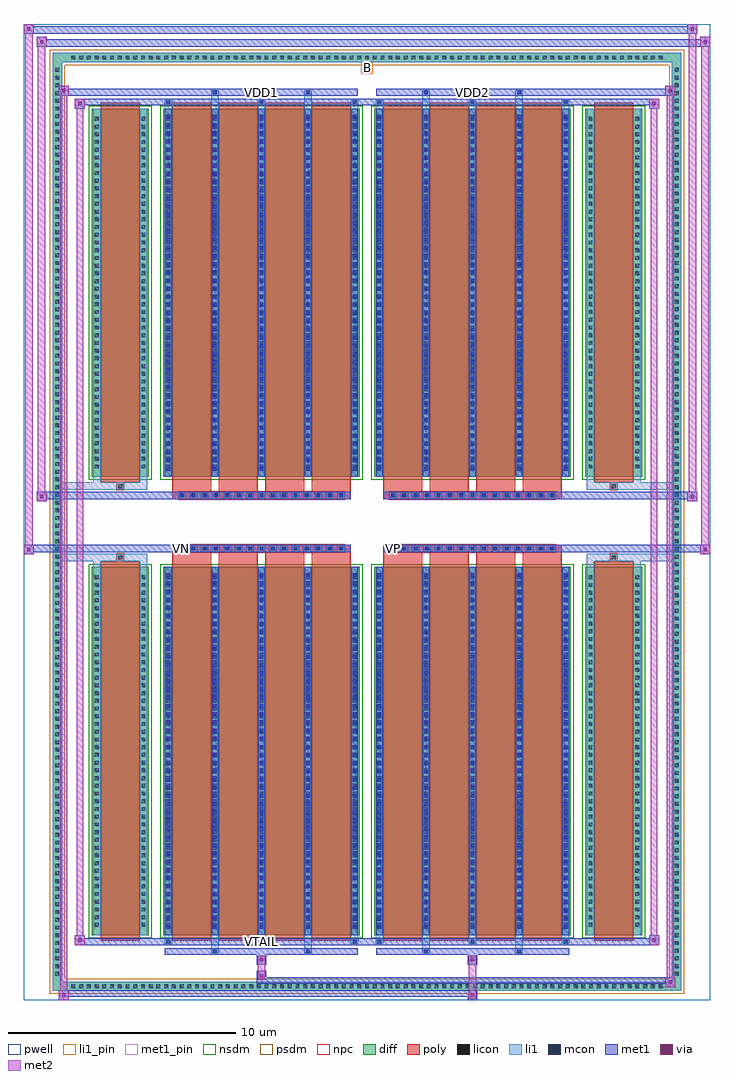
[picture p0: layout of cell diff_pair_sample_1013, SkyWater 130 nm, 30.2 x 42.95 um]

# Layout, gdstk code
import gdstk
lib = gdstk.Library(unit=1e-6, precision=5e-09)
def R(c, l, rs):  # rectangles x0, y0, x1, y1
    for r in rs: c.add(gdstk.rectangle(r[:2], r[2:], *l))
def A(c, l, x, y, w, h, nx, ny, dx, dy):  # array of equal rectangles
    R(c, l, [(x+i*dx, y+j*dy, x+i*dx+w, y+j*dy+h) for i in range(nx) for j in range(ny)])
def P(c, l, *ps):  # polygons
    for p in ps: c.add(gdstk.Polygon(p, *l))
pwell = (64, 44)
diff = (65, 20)
poly = (66, 20)
licon = (66, 44)
li1_pin = (67, 16)
li1 = (67, 20)
mcon = (67, 44)
met1_pin = (68, 16)
met1 = (68, 20)
via = (68, 44)
met2 = (69, 20)
nsdm = (93, 44)
psdm = (94, 20)
npc = (95, 20)

diff_pair_sample_1013 = lib.new_cell('diff_pair_sample_1013')
R(diff_pair_sample_1013, pwell, [(-15.1,-21.04,15.1,21.91), (-12.42,-19.23,-0.01,-0.805), (0.01,-19.23,12.42,-0.805), (-12.42,0.805,-0.01,19.23), (0.01,0.805,12.42,19.23)])
A(diff_pair_sample_1013, diff, -13.125, -20.64, 0.41, 0.41, 77, 2, 0.34, 40.87)
A(diff_pair_sample_1013, diff, -13.83, -20.095, 0.41, 0.41, 1, 118, 0, 0.34)
A(diff_pair_sample_1013, diff, 13.42, -20.095, 0.41, 0.41, 1, 118, 0, 0.34)
R(diff_pair_sample_1013, diff, [(-13.125,-20.64,13.125,-20.23), (-13.83,-20.095,-13.42,20.095), (13.42,-20.095,13.83,20.095), (-12.11,-18.185,-9.61,-1.985), (-8.97,-18.185,-0.32,-1.985), (0.32,-18.185,8.97,-1.985), (9.61,-18.185,12.11,-1.985), (-12.11,1.985,-9.61,18.185), (-8.97,1.985,-0.32,18.185), (0.32,1.985,8.97,18.185), (9.61,1.985,12.11,18.185), (-13.125,20.23,13.125,20.64)])
P(diff_pair_sample_1013, diff, [(13.83,20.64),(-13.83,20.64),(-13.83,-20.23),(-13.42,-20.23),(-13.42,20.23),(13.42,20.23),(13.42,-20.23),(-13.42,-20.23),(-13.83,-20.23),(-13.83,-20.64),(13.83,-20.64)])
A(diff_pair_sample_1013, poly, -8.58, -18.435, 1.72, 16.7, 4, 2, 2.05, 20.17)
A(diff_pair_sample_1013, poly, 0.71, -18.435, 1.72, 16.7, 4, 2, 2.05, 20.17)
A(diff_pair_sample_1013, poly, -8.58, -1.735, 1.72, 0.4, 4, 2, 2.05, 3.07)
A(diff_pair_sample_1013, poly, 0.71, -1.735, 1.72, 0.4, 4, 2, 2.05, 3.07)
A(diff_pair_sample_1013, poly, -8.31, -1.335, 0.33, 0.33, 15, 2, 0.5, 2.34)
A(diff_pair_sample_1013, poly, 0.98, -1.335, 0.33, 0.33, 15, 2, 0.5, 2.34)
R(diff_pair_sample_1013, poly, [(-11.72,-18.435,-10,-1.735), (10,-18.435,11.72,-1.735), (-11.025,-1.735,-10.695,-1.405), (-11.025,-1.735,-10.695,-1.405), (10.695,-1.735,11.025,-1.405), (10.695,-1.735,11.025,-1.405), (-8.58,-1.335,-0.71,-1.005), (0.71,-1.335,8.58,-1.005), (-8.58,1.005,-0.71,1.335), (0.71,1.005,8.58,1.335), (-11.025,1.405,-10.695,1.735), (-11.025,1.405,-10.695,1.735), (10.695,1.405,11.025,1.735), (10.695,1.405,11.025,1.735), (-11.72,1.735,-10,18.435), (10,1.735,11.72,18.435)])
A(diff_pair_sample_1013, licon, -13.005, -20.52, 0.17, 0.17, 77, 2, 0.34, 40.87)
A(diff_pair_sample_1013, licon, -13.71, -19.975, 0.17, 0.17, 1, 118, 0, 0.34)
A(diff_pair_sample_1013, licon, 13.54, -19.975, 0.17, 0.17, 1, 118, 0, 0.34)
A(diff_pair_sample_1013, licon, -11.97, -17.82, 0.17, 0.17, 1, 46, 0, 0.34)
A(diff_pair_sample_1013, licon, -9.92, -17.82, 0.17, 0.17, 1, 46, 0, 0.34)
A(diff_pair_sample_1013, licon, -8.83, -17.82, 0.17, 0.17, 5, 46, 2.05, 0.34)
A(diff_pair_sample_1013, licon, 0.46, -17.82, 0.17, 0.17, 5, 46, 2.05, 0.34)
A(diff_pair_sample_1013, licon, 9.75, -17.82, 0.17, 0.17, 1, 46, 0, 0.34)
A(diff_pair_sample_1013, licon, 11.8, -17.82, 0.17, 0.17, 1, 46, 0, 0.34)
A(diff_pair_sample_1013, licon, -8.23, -1.255, 0.17, 0.17, 15, 2, 0.5, 2.34)
A(diff_pair_sample_1013, licon, 1.06, -1.255, 0.17, 0.17, 15, 2, 0.5, 2.34)
A(diff_pair_sample_1013, licon, -11.97, 2.35, 0.17, 0.17, 1, 46, 0, 0.34)
A(diff_pair_sample_1013, licon, -9.92, 2.35, 0.17, 0.17, 1, 46, 0, 0.34)
A(diff_pair_sample_1013, licon, -8.83, 2.35, 0.17, 0.17, 5, 46, 2.05, 0.34)
A(diff_pair_sample_1013, licon, 0.46, 2.35, 0.17, 0.17, 5, 46, 2.05, 0.34)
A(diff_pair_sample_1013, licon, 9.75, 2.35, 0.17, 0.17, 1, 46, 0, 0.34)
A(diff_pair_sample_1013, licon, 11.8, 2.35, 0.17, 0.17, 1, 46, 0, 0.34)
R(diff_pair_sample_1013, licon, [(-10.945,-1.655,-10.775,-1.485), (10.775,-1.655,10.945,-1.485), (-10.945,1.485,-10.775,1.655), (10.775,1.485,10.945,1.655)])
R(diff_pair_sample_1013, li1_pin, [(-0.25,19.73,0.25,20.23)])
A(diff_pair_sample_1013, li1, -13.085, -20.6, 0.33, 0.33, 77, 2, 0.34, 40.87)
A(diff_pair_sample_1013, li1, -13.79, -20.055, 0.33, 0.33, 1, 118, 0, 0.34)
A(diff_pair_sample_1013, li1, 13.46, -20.055, 0.33, 0.33, 1, 118, 0, 0.34)
A(diff_pair_sample_1013, li1, -8.91, -18.56, 0.33, 0.375, 3, 2, 4.1, 36.745)
A(diff_pair_sample_1013, li1, -8.83, -18.56, 0.17, 0.17, 3, 2, 4.1, 36.95)
A(diff_pair_sample_1013, li1, 0.38, -18.56, 0.33, 0.375, 3, 2, 4.1, 36.745)
A(diff_pair_sample_1013, li1, 0.46, -18.56, 0.17, 0.17, 3, 2, 4.1, 36.95)
A(diff_pair_sample_1013, li1, -8.91, -18.185, 0.33, 16.2, 5, 2, 2.05, 20.17)
A(diff_pair_sample_1013, li1, 0.38, -18.185, 0.33, 16.2, 5, 2, 2.05, 20.17)
A(diff_pair_sample_1013, li1, -8.83, -17.91, 0.17, 0.17, 5, 44, 2.05, 0.36)
A(diff_pair_sample_1013, li1, -8.83, -17.91, 0.17, 15.65, 5, 2, 2.05, 20.17)
A(diff_pair_sample_1013, li1, 0.46, -17.91, 0.17, 0.17, 5, 44, 2.05, 0.36)
A(diff_pair_sample_1013, li1, 0.46, -17.91, 0.17, 15.65, 5, 2, 2.05, 20.17)
A(diff_pair_sample_1013, li1, -12.05, -17.9, 0.33, 0.33, 1, 46, 0, 0.34)
A(diff_pair_sample_1013, li1, -10, -17.9, 0.33, 0.33, 1, 46, 0, 0.34)
A(diff_pair_sample_1013, li1, -8.91, -17.9, 0.33, 0.33, 5, 46, 2.05, 0.34)
A(diff_pair_sample_1013, li1, 0.38, -17.9, 0.33, 0.33, 5, 46, 2.05, 0.34)
A(diff_pair_sample_1013, li1, 9.67, -17.9, 0.33, 0.33, 1, 46, 0, 0.34)
A(diff_pair_sample_1013, li1, 11.72, -17.9, 0.33, 0.33, 1, 46, 0, 0.34)
A(diff_pair_sample_1013, li1, -8.31, -1.335, 0.33, 0.33, 15, 2, 0.5, 2.34)
A(diff_pair_sample_1013, li1, 0.98, -1.335, 0.33, 0.33, 15, 2, 0.5, 2.34)
A(diff_pair_sample_1013, li1, -8.83, 2.26, 0.17, 0.17, 5, 44, 2.05, 0.36)
A(diff_pair_sample_1013, li1, 0.46, 2.26, 0.17, 0.17, 5, 44, 2.05, 0.36)
A(diff_pair_sample_1013, li1, -12.05, 2.27, 0.33, 0.33, 1, 46, 0, 0.34)
A(diff_pair_sample_1013, li1, -10, 2.27, 0.33, 0.33, 1, 46, 0, 0.34)
A(diff_pair_sample_1013, li1, -8.91, 2.27, 0.33, 0.33, 5, 46, 2.05, 0.34)
A(diff_pair_sample_1013, li1, 0.38, 2.27, 0.33, 0.33, 5, 46, 2.05, 0.34)
A(diff_pair_sample_1013, li1, 9.67, 2.27, 0.33, 0.33, 1, 46, 0, 0.34)
A(diff_pair_sample_1013, li1, 11.72, 2.27, 0.33, 0.33, 1, 46, 0, 0.34)
R(diff_pair_sample_1013, li1, [(-13.83,-20.64,-13.42,-20.23), (-13.83,-20.64,-13.42,-20.23), (-13.42,-20.64,13.42,-20.23), (13.42,-20.64,13.83,-20.23), (13.42,-20.64,13.83,-20.23), (-13.83,-20.23,-13.42,20.23), (13.42,-20.23,13.83,20.23), (-6.86,-18.99,-6.53,-18.185), (-6.78,-18.99,-6.61,-18.82), (-2.76,-18.99,-2.43,-18.185), (-2.68,-18.99,-2.51,-18.82), (2.43,-18.99,2.76,-18.185), (2.51,-18.99,2.68,-18.82), (6.53,-18.99,6.86,-18.185), (6.61,-18.99,6.78,-18.82), (-12.05,-18.185,-11.72,-1.985), (-10,-18.185,-9.67,-1.985), (9.67,-18.185,10,-1.985), (11.72,-18.185,12.05,-1.985), (-12.05,-1.985,-11.72,-1.405), (-10,-1.985,-9.67,-1.405), (9.67,-1.985,10,-1.405), (11.72,-1.985,12.05,-1.405), (-13.83,-1.735,-11.025,-1.405), (-12.05,-1.735,-11.025,-1.405), (-11.025,-1.735,-10.695,-1.405), (-10.695,-1.735,-9.67,-1.405), (9.67,-1.735,10.695,-1.405), (10.695,-1.735,11.025,-1.405), (10.695,-1.735,13.83,-1.405), (11.025,-1.735,12.05,-1.405), (-13.83,1.405,-11.025,1.735), (-12.05,1.405,-11.025,1.735), (-12.05,1.405,-11.72,1.985), (-11.025,1.405,-10.695,1.735), (-10.695,1.405,-9.67,1.735), (-10,1.405,-9.67,1.985), (9.67,1.405,10.695,1.735), (9.67,1.405,10,1.985), (10.695,1.405,11.025,1.735), (10.695,1.405,13.83,1.735), (11.025,1.405,12.05,1.735), (11.72,1.405,12.05,1.985), (-12.05,1.985,-11.72,18.185), (-10,1.985,-9.67,18.185), (9.67,1.985,10,18.185), (11.72,1.985,12.05,18.185), (-6.86,18.185,-6.53,18.99), (-2.76,18.185,-2.43,18.99), (2.43,18.185,2.76,18.99), (6.53,18.185,6.86,18.99), (-6.78,18.82,-6.61,18.99), (-2.68,18.82,-2.51,18.99), (2.51,18.82,2.68,18.99), (6.61,18.82,6.78,18.99), (-13.83,20.23,-13.42,20.64), (-13.83,20.23,-13.42,20.64), (-13.42,20.23,13.42,20.64), (13.42,20.23,13.83,20.64), (13.42,20.23,13.83,20.64)])
A(diff_pair_sample_1013, mcon, -8.83, -18.56, 0.17, 0.17, 3, 2, 4.1, 36.95)
A(diff_pair_sample_1013, mcon, 0.46, -18.56, 0.17, 0.17, 3, 2, 4.1, 36.95)
A(diff_pair_sample_1013, mcon, -8.83, -17.91, 0.17, 0.17, 5, 44, 2.05, 0.36)
A(diff_pair_sample_1013, mcon, 0.46, -17.91, 0.17, 0.17, 5, 44, 2.05, 0.36)
A(diff_pair_sample_1013, mcon, -8.23, -1.255, 0.17, 0.17, 15, 2, 0.5, 2.34)
A(diff_pair_sample_1013, mcon, 1.06, -1.255, 0.17, 0.17, 15, 2, 0.5, 2.34)
A(diff_pair_sample_1013, mcon, -8.83, 2.26, 0.17, 0.17, 5, 44, 2.05, 0.36)
A(diff_pair_sample_1013, mcon, 0.46, 2.26, 0.17, 0.17, 5, 44, 2.05, 0.36)
R(diff_pair_sample_1013, mcon, [(-6.78,-18.99,-6.61,-18.82), (-2.68,-18.99,-2.51,-18.82), (2.51,-18.99,2.68,-18.82), (6.61,-18.99,6.78,-18.82), (-6.78,18.82,-6.61,18.99), (-2.68,18.82,-2.51,18.99), (2.51,18.82,2.68,18.99), (6.61,18.82,6.78,18.99)])
R(diff_pair_sample_1013, met1_pin, [(-4.78,-18.6,-4.51,-18.33), (-8.28,-1.295,-8.01,-1.025), (1.01,-1.295,1.28,-1.025), (-4.78,18.78,-4.51,19.05), (4.51,18.78,4.78,19.05)])
A(diff_pair_sample_1013, met1, -8.89, -18.62, 0.29, 0.29, 3, 2, 4.1, 36.95)
A(diff_pair_sample_1013, met1, 0.4, -18.62, 0.29, 0.29, 3, 2, 4.1, 36.95)
A(diff_pair_sample_1013, met1, -8.89, -18.185, 0.29, 16.2, 5, 2, 2.05, 20.17)
A(diff_pair_sample_1013, met1, 0.4, -18.185, 0.29, 16.2, 5, 2, 2.05, 20.17)
A(diff_pair_sample_1013, met1, -8.89, -17.97, 0.29, 0.29, 5, 44, 2.05, 0.36)
A(diff_pair_sample_1013, met1, 0.4, -17.97, 0.29, 0.29, 5, 44, 2.05, 0.36)
A(diff_pair_sample_1013, met1, -8.29, -1.315, 0.29, 0.29, 15, 2, 0.5, 2.34)
A(diff_pair_sample_1013, met1, 1, -1.315, 0.29, 0.29, 15, 2, 0.5, 2.34)
A(diff_pair_sample_1013, met1, -8.89, 2.2, 0.29, 0.29, 5, 44, 2.05, 0.36)
A(diff_pair_sample_1013, met1, 0.4, 2.2, 0.29, 0.29, 5, 44, 2.05, 0.36)
R(diff_pair_sample_1013, met1, [(-13.56,-21.04,-13.13,-20.61), (4.43,-21.04,4.86,-20.61), (-13.56,-20.9,4.86,-20.61), (13.13,-20.47,13.56,-20.04), (-4.86,-20.33,13.56,-20.04), (-4.86,-20.19,-4.43,-19.76), (-4.86,-19.48,-4.43,-19.05), (4.43,-19.48,4.86,-19.05), (-8.89,-19.05,-0.4,-18.76), (-6.84,-19.05,-6.55,-18.76), (-2.74,-19.05,-2.45,-18.76), (0.4,-19.05,8.89,-18.76), (2.45,-19.05,2.74,-18.76), (6.55,-19.05,6.84,-18.76), (-12.85,-18.62,-12.42,-18.19), (-12.85,-18.62,-8.89,-18.33), (-8.89,-18.62,-0.4,-18.33), (-0.4,-18.62,0.4,-18.33), (0.4,-18.62,8.89,-18.33), (8.89,-18.62,12.85,-18.33), (12.42,-18.62,12.85,-18.19), (-15.1,-1.435,-14.67,-1.005), (14.67,-1.435,15.1,-1.005), (-15.1,-1.335,-0.71,-1.005), (-8.58,-1.335,-0.71,-1.005), (0.71,-1.335,8.58,-1.005), (0.71,-1.335,15.1,-1.005), (-14.53,0.905,-14.1,1.335), (14.1,0.905,14.53,1.335), (-14.53,1.005,-8.58,1.335), (-8.58,1.005,-0.71,1.335), (0.71,1.005,8.58,1.335), (8.58,1.005,14.53,1.335), (-12.85,18.19,-12.42,18.62), (12.42,18.19,12.85,18.62), (-12.85,18.33,-8.89,18.62), (-8.89,18.33,-0.4,18.62), (-0.4,18.33,0.4,18.62), (0.4,18.33,8.89,18.62), (8.89,18.33,12.85,18.62), (-13.56,18.76,-13.13,19.19), (-13.56,18.76,-8.89,19.05), (-8.89,18.76,-0.4,19.05), (-6.84,18.76,-6.55,19.05), (-2.74,18.76,-2.45,19.05), (0.4,18.76,8.89,19.05), (2.45,18.76,2.74,19.05), (6.55,18.76,6.84,19.05), (8.89,18.76,13.56,19.05), (13.13,18.76,13.56,19.19), (-14.53,20.91,-14.1,21.34), (-14.53,20.91,-12.42,21.24), (-12.42,20.91,12.42,21.24), (12.42,20.91,15.1,21.24), (14.67,20.91,15.1,21.34), (-15.1,21.48,-14.67,21.91), (-15.1,21.48,-12.42,21.81), (-12.42,21.48,12.42,21.81), (12.42,21.48,14.53,21.81), (14.1,21.48,14.53,21.91)])
R(diff_pair_sample_1013, via, [(-13.42,-20.9,-13.27,-20.75), (4.57,-20.9,4.72,-20.75), (13.27,-20.33,13.42,-20.18), (-4.72,-20.05,-4.57,-19.9), (-4.72,-19.34,-4.57,-19.19), (4.57,-19.34,4.72,-19.19), (-12.71,-18.48,-12.56,-18.33), (12.56,-18.48,12.71,-18.33), (-14.96,-1.295,-14.81,-1.145), (14.81,-1.295,14.96,-1.145), (-14.39,1.045,-14.24,1.195), (14.24,1.045,14.39,1.195), (-12.71,18.33,-12.56,18.48), (12.56,18.33,12.71,18.48), (-13.42,18.9,-13.27,19.05), (13.27,18.9,13.42,19.05), (-14.39,21.05,-14.24,21.2), (14.81,21.05,14.96,21.2), (-14.96,21.62,-14.81,21.77), (14.24,21.62,14.39,21.77)])
R(diff_pair_sample_1013, met2, [(-13.56,-21.04,-13.13,-20.61), (-13.49,-21.04,-13.2,19.19), (-13.2,-21.04,-13.13,-20.61), (-13.51,-20.99,-13.18,-20.66), (4.48,-20.99,4.81,-20.66), (4.48,-20.66,4.81,-19.43), (13.13,-20.47,13.56,-20.04), (13.2,-20.47,13.49,19.19), (13.49,-20.47,13.56,-20.04), (13.18,-20.42,13.51,-20.09), (-4.81,-20.14,-4.48,-19.81), (-4.81,-19.81,-4.48,-19.43), (-4.81,-19.43,-4.48,-19.1), (4.48,-19.43,4.81,-19.1), (-12.85,-18.62,-12.42,-18.19), (-12.78,-18.62,-12.49,18.62), (-12.49,-18.62,-12.42,-18.19), (12.42,-18.62,12.85,-18.19), (12.49,-18.62,12.78,18.62), (12.78,-18.62,12.85,-18.19), (-12.8,-18.57,-12.47,-18.24), (12.47,-18.57,12.8,-18.24), (-15.1,-1.435,-14.67,-1.005), (-15.05,-1.435,-14.72,21.91), (-14.72,-1.435,-14.67,-1.005), (14.67,-1.435,15.1,-1.005), (14.72,-1.435,15.05,21.34), (15.05,-1.435,15.1,-1.005), (-15.05,-1.385,-14.72,-1.055), (14.72,-1.385,15.05,-1.055), (-14.53,0.905,-14.1,1.335), (-14.48,0.905,-14.15,21.34), (-14.15,0.905,-14.1,1.335), (14.1,0.905,14.53,1.335), (14.15,0.905,14.48,21.91), (14.48,0.905,14.53,1.335), (-14.48,0.955,-14.15,1.285), (14.15,0.955,14.48,1.285), (-12.85,18.19,-12.42,18.62), (-12.49,18.19,-12.42,18.62), (12.42,18.19,12.85,18.62), (12.78,18.19,12.85,18.62), (-12.8,18.24,-12.47,18.57), (12.47,18.24,12.8,18.57), (-13.56,18.76,-13.13,19.19), (-13.2,18.76,-13.13,19.19), (13.13,18.76,13.56,19.19), (13.49,18.76,13.56,19.19), (-13.51,18.81,-13.18,19.14), (13.18,18.81,13.51,19.14), (-14.53,20.91,-14.1,21.34), (-14.15,20.91,-14.1,21.34), (14.67,20.91,15.1,21.34), (15.05,20.91,15.1,21.34), (-14.48,20.96,-14.15,21.29), (14.72,20.96,15.05,21.29), (-15.1,21.48,-14.67,21.91), (-14.72,21.48,-14.67,21.91), (14.1,21.48,14.53,21.91), (14.48,21.48,14.53,21.91), (-15.05,21.53,-14.72,21.86), (14.15,21.53,14.48,21.86)])
R(diff_pair_sample_1013, nsdm, [(-12.24,-18.315,-9.48,-1.855), (-9.1,-18.315,-0.19,-1.855), (0.19,-18.315,9.1,-1.855), (9.48,-18.315,12.24,-1.855), (-12.24,1.855,-9.48,18.315), (-9.1,1.855,-0.19,18.315), (0.19,1.855,9.1,18.315), (9.48,1.855,12.24,18.315)])
P(diff_pair_sample_1013, psdm, [(13.96,20.77),(-13.96,20.77),(-13.96,-20.1),(-13.29,-20.1),(-13.29,20.1),(13.29,20.1),(13.29,-20.1),(-13.29,-20.1),(-13.96,-20.1),(-13.96,-20.77),(13.96,-20.77)])
A(diff_pair_sample_1013, npc, -8.33, -1.355, 0.37, 0.37, 15, 2, 0.5, 2.34)
A(diff_pair_sample_1013, npc, 0.96, -1.355, 0.37, 0.37, 15, 2, 0.5, 2.34)
R(diff_pair_sample_1013, npc, [(-11.045,-1.755,-10.675,-1.385), (10.675,-1.755,11.045,-1.385), (-8.33,-1.355,-7.46,-0.985), (-8.33,-1.355,-7.46,-0.985), (-7.83,-1.355,-6.96,-0.985), (-7.83,-1.355,-6.96,-0.985), (-7.33,-1.355,-6.46,-0.985), (-7.33,-1.355,-6.46,-0.985), (-6.83,-1.355,-5.96,-0.985), (-6.83,-1.355,-5.96,-0.985), (-6.33,-1.355,-5.46,-0.985), (-6.33,-1.355,-5.46,-0.985), (-5.83,-1.355,-4.96,-0.985), (-5.83,-1.355,-4.96,-0.985), (-5.33,-1.355,-4.46,-0.985), (-5.33,-1.355,-4.46,-0.985), (-4.83,-1.355,-3.96,-0.985), (-4.83,-1.355,-3.96,-0.985), (-4.33,-1.355,-3.46,-0.985), (-4.33,-1.355,-3.46,-0.985), (-3.83,-1.355,-2.96,-0.985), (-3.83,-1.355,-2.96,-0.985), (-3.33,-1.355,-2.46,-0.985), (-3.33,-1.355,-2.46,-0.985), (-2.83,-1.355,-1.96,-0.985), (-2.83,-1.355,-1.96,-0.985), (-2.33,-1.355,-1.46,-0.985), (-2.33,-1.355,-1.46,-0.985), (-1.83,-1.355,-0.96,-0.985), (-1.83,-1.355,-0.96,-0.985), (0.96,-1.355,1.83,-0.985), (0.96,-1.355,1.83,-0.985), (1.46,-1.355,2.33,-0.985), (1.46,-1.355,2.33,-0.985), (1.96,-1.355,2.83,-0.985), (1.96,-1.355,2.83,-0.985), (2.46,-1.355,3.33,-0.985), (2.46,-1.355,3.33,-0.985), (2.96,-1.355,3.83,-0.985), (2.96,-1.355,3.83,-0.985), (3.46,-1.355,4.33,-0.985), (3.46,-1.355,4.33,-0.985), (3.96,-1.355,4.83,-0.985), (3.96,-1.355,4.83,-0.985), (4.46,-1.355,5.33,-0.985), (4.46,-1.355,5.33,-0.985), (4.96,-1.355,5.83,-0.985), (4.96,-1.355,5.83,-0.985), (5.46,-1.355,6.33,-0.985), (5.46,-1.355,6.33,-0.985), (5.96,-1.355,6.83,-0.985), (5.96,-1.355,6.83,-0.985), (6.46,-1.355,7.33,-0.985), (6.46,-1.355,7.33,-0.985), (6.96,-1.355,7.83,-0.985), (6.96,-1.355,7.83,-0.985), (7.46,-1.355,8.33,-0.985), (7.46,-1.355,8.33,-0.985), (-8.33,0.985,-7.46,1.355), (-8.33,0.985,-7.46,1.355), (-7.83,0.985,-6.96,1.355), (-7.83,0.985,-6.96,1.355), (-7.33,0.985,-6.46,1.355), (-7.33,0.985,-6.46,1.355), (-6.83,0.985,-5.96,1.355), (-6.83,0.985,-5.96,1.355), (-6.33,0.985,-5.46,1.355), (-6.33,0.985,-5.46,1.355), (-5.83,0.985,-4.96,1.355), (-5.83,0.985,-4.96,1.355), (-5.33,0.985,-4.46,1.355), (-5.33,0.985,-4.46,1.355), (-4.83,0.985,-3.96,1.355), (-4.83,0.985,-3.96,1.355), (-4.33,0.985,-3.46,1.355), (-4.33,0.985,-3.46,1.355), (-3.83,0.985,-2.96,1.355), (-3.83,0.985,-2.96,1.355), (-3.33,0.985,-2.46,1.355), (-3.33,0.985,-2.46,1.355), (-2.83,0.985,-1.96,1.355), (-2.83,0.985,-1.96,1.355), (-2.33,0.985,-1.46,1.355), (-2.33,0.985,-1.46,1.355), (-1.83,0.985,-0.96,1.355), (-1.83,0.985,-0.96,1.355), (0.96,0.985,1.83,1.355), (0.96,0.985,1.83,1.355), (1.46,0.985,2.33,1.355), (1.46,0.985,2.33,1.355), (1.96,0.985,2.83,1.355), (1.96,0.985,2.83,1.355), (2.46,0.985,3.33,1.355), (2.46,0.985,3.33,1.355), (2.96,0.985,3.83,1.355), (2.96,0.985,3.83,1.355), (3.46,0.985,4.33,1.355), (3.46,0.985,4.33,1.355), (3.96,0.985,4.83,1.355), (3.96,0.985,4.83,1.355), (4.46,0.985,5.33,1.355), (4.46,0.985,5.33,1.355), (4.96,0.985,5.83,1.355), (4.96,0.985,5.83,1.355), (5.46,0.985,6.33,1.355), (5.46,0.985,6.33,1.355), (5.96,0.985,6.83,1.355), (5.96,0.985,6.83,1.355), (6.46,0.985,7.33,1.355), (6.46,0.985,7.33,1.355), (6.96,0.985,7.83,1.355), (6.96,0.985,7.83,1.355), (7.46,0.985,8.33,1.355), (7.46,0.985,8.33,1.355), (-11.045,1.385,-10.675,1.755), (10.675,1.385,11.045,1.755)])
diff_pair_sample_1013.add(gdstk.Label('VTAIL', (-4.645,-18.465), layer=68, texttype=5))
diff_pair_sample_1013.add(gdstk.Label('VN', (-8.145,-1.16), layer=68, texttype=5))
diff_pair_sample_1013.add(gdstk.Label('VP', (1.145,-1.16), layer=68, texttype=5))
diff_pair_sample_1013.add(gdstk.Label('B', (0,19.98), layer=67, texttype=5))
diff_pair_sample_1013.add(gdstk.Label('VDD2', (4.645,18.915), layer=68, texttype=5))
diff_pair_sample_1013.add(gdstk.Label('VDD1', (-4.645,18.915), layer=68, texttype=5))

lib.write_gds('diff_pair_sample_1013.gds')
